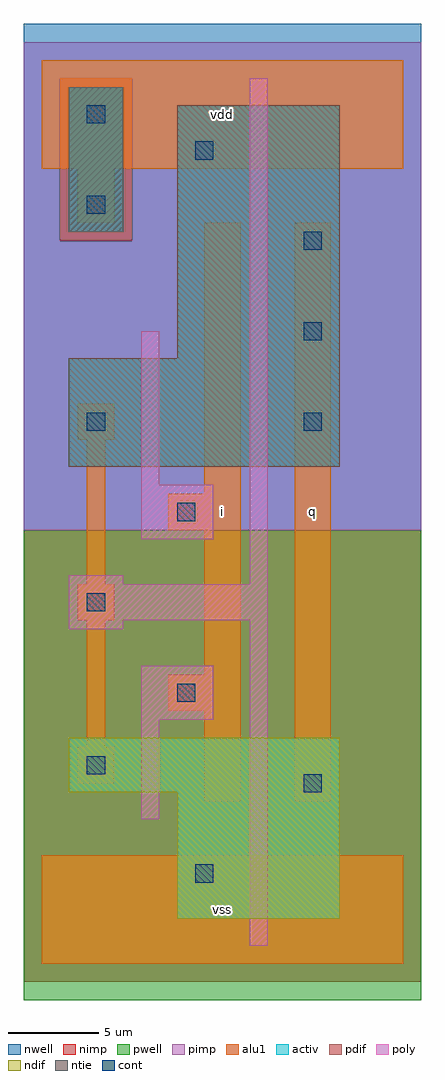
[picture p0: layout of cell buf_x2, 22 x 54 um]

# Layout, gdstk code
import gdstk
lib = gdstk.Library(unit=1e-6, precision=1e-09)
def R(c, l, rs):  # rectangles x0, y0, x1, y1
    for r in rs: c.add(gdstk.rectangle(r[:2], r[2:], *l))
def A(c, l, x, y, w, h, nx, ny, dx, dy):  # array of equal rectangles
    R(c, l, [(x+i*dx, y+j*dy, x+i*dx+w, y+j*dy+h) for i in range(nx) for j in range(ny)])
ndif = (3, 0)
pdif = (4, 0)
ntie = (5, 0)
cont = (25, 0)
pwell = (41, 0)
nwell = (42, 0)
activ = (43, 0)
pimp = (44, 0)
nimp = (45, 0)
poly = (46, 0)
alu1 = (49, 0)

buf_x2 = lib.new_cell('buf_x2')
R(buf_x2, ndif, [(7.5,2.5,16.5,9.5), (1.5,9.5,16.5,12.5)])
R(buf_x2, pdif, [(1.5,27.5,16.5,33.5), (7.5,33.5,16.5,47.5)])
R(buf_x2, ntie, [(1.5,40.5,4.5,48.5)])
A(buf_x2, cont, 14.5, 29.5, 1, 1, 1, 3, 0, 5)
R(buf_x2, cont, [(8.5,4.5,9.5,5.5), (14.5,9.5,15.5,10.5), (2.5,10.5,3.5,11.5), (7.5,14.5,8.5,15.5), (2.5,19.5,3.5,20.5), (7.5,24.5,8.5,25.5), (2.5,29.5,3.5,30.5), (2.5,41.5,3.5,42.5), (8.5,44.5,9.5,45.5), (2.5,46.5,3.5,47.5)])
R(buf_x2, pwell, [(-1,-2,21,24)])
R(buf_x2, nwell, [(-1,24,21,52)])
R(buf_x2, activ, [(7.5,2.5,16.5,9.5), (1.5,9.5,16.5,12.5), (1.5,27.5,16.5,33.5), (7.5,33.5,16.5,47.5), (1.5,40.5,4.5,48.5)])
R(buf_x2, pimp, [(-1,24,21,40), (-1,40,1,49), (5,40,21,49), (-1,49,21,51)])
R(buf_x2, nimp, [(-1,-1,21,24), (1,40,5,49)])
R(buf_x2, poly, [(11.5,1,12.5,19), (5.5,8,6.5,13.5), (5.5,13.5,9.5,16.5), (1.5,18.5,4.5,19), (1.5,19,12.5,21), (1.5,21,4.5,21.5), (11.5,21,12.5,49), (5.5,23.5,9.5,26.5), (5.5,26.5,6.5,35)])
R(buf_x2, alu1, [(0,0,20,6), (9,9,11,14), (14,9,16,41), (2,10,4,12), (2.5,12,3.5,19), (7,14,11,16), (9,16,11,24), (2,19,4,21), (2.5,21,3.5,29), (7,24,11,26), (9,26,11,41), (2,29,4,31), (2,41,4,44), (0,44,20,50)])
buf_x2.add(gdstk.Label('vss', (10,3), layer=49, texttype=0))
buf_x2.add(gdstk.Label('i', (10,25), layer=49, texttype=0))
buf_x2.add(gdstk.Label('vdd', (10,47), layer=49, texttype=0))
buf_x2.add(gdstk.Label('q', (15,25), layer=49, texttype=0))

lib.write_gds('buf_x2.gds')
